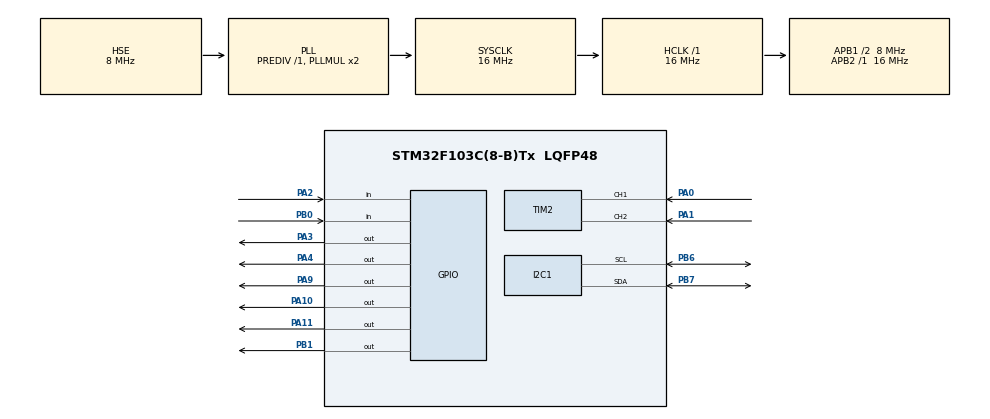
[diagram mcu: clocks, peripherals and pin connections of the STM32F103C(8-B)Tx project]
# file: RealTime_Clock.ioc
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I2C1.I2C_Mode=I2C_Fast
Mcu.Family=STM32F1
Mcu.Name=STM32F103C(8-B)Tx
Mcu.Package=LQFP48
NVIC.PriorityGroup=NVIC_PRIORITYGROUP_4
PA0-WKUP.Signal=S_TIM2_CH1_ETR
PA1.Signal=S_TIM2_CH2
PA10.Signal=GPIO_Output
PA11.Signal=GPIO_Output
PA13.Mode=Serial_Wire
PA13.Signal=SYS_JTMS-SWDIO
PA14.Mode=Serial_Wire
PA14.Signal=SYS_JTCK-SWCLK
PA2.GPIO_PuPd=GPIO_PULLUP
PA2.Signal=GPIO_Input
PA3.Signal=GPIO_Output
PA4.Signal=GPIO_Output
PA9.Signal=GPIO_Output
PB0.GPIO_PuPd=GPIO_PULLDOWN
PB0.Signal=GPIO_Input
PB1.Signal=GPIO_Output
PB6.Mode=I2C
PB6.Signal=I2C1_SCL
PB7.Mode=I2C
PB7.Signal=I2C1_SDA
PD0-OSC_IN.Mode=HSE-External-Oscillator
PD0-OSC_IN.Signal=RCC_OSC_IN
PD1-OSC_OUT.Mode=HSE-External-Oscillator
PD1-OSC_OUT.Signal=RCC_OSC_OUT
ProjectManager.HeapSize=0x200
ProjectManager.StackSize=0x400
ProjectManager.TargetToolchain=STM32CubeIDE
RCC.AHBFreq_Value=16000000
RCC.APB1CLKDivider=RCC_HCLK_DIV2
RCC.APB1Freq_Value=8000000
RCC.APB1TimFreq_Value=16000000
RCC.APB2Freq_Value=16000000
RCC.APB2TimFreq_Value=16000000
RCC.HCLKFreq_Value=16000000
RCC.PLLSourceVirtual=RCC_PLLSOURCE_HSE
RCC.SYSCLKFreq_VALUE=16000000
RCC.SYSCLKSource=RCC_SYSCLKSOURCE_PLLCLK
RCC.USBFreq_Value=16000000
SH.S_TIM2_CH1_ETR.0=TIM2_CH1,Encoder_Interface
SH.S_TIM2_CH2.0=TIM2_CH2,Encoder_Interface
board=custom

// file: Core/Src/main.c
/* USER CODE BEGIN Header */
/**
  ******************************************************************************
  * @file           : main.c
  * @brief          : Main program body
  ******************************************************************************
  * @attention
  *
  * Copyright (c) 2024 STMicroelectronics.
  * All rights reserved.
  *
  * This software is licensed under terms that can be found in the LICENSE file
  * in the root directory of this software component.
  * If no LICENSE file comes with this software, it is provided AS-IS.
  *
  ******************************************************************************
  */
/* USER CODE END Header */

#include "main.h"

/* USER CODE BEGIN Includes */
#include "EOS.h"
#include "LED74HC595.h"
#include "realtime_clock.h"
#include "stdio.h"
#include "ds3231.h"
/* USER CODE END Includes */

I2C_HandleTypeDef hi2c1;

TIM_HandleTypeDef htim2;

/* USER CODE BEGIN PV */
float TEMP;

LED74HC595 ledStruct;
/* USER CODE END PV */

void SystemClock_Config(void);
static void MX_GPIO_Init(void);
static void MX_I2C1_Init(void);
static void MX_TIM2_Init(void);

int main(void)
{

  /* MCU Configuration--------------------------------------------------------*/

  /* Reset of all peripherals, Initializes the Flash interface and the Systick. */
  //HAL_Init();

  /* Configure the system clock */
  //SystemClock_Config();

  /* Initialize all configured peripherals */
  MX_GPIO_Init();
  MX_I2C1_Init();
  MX_TIM2_Init();
  /* USER CODE BEGIN 2 */
  EOS_init(1000);
  //HAL_TIM_Encoder_Start(&htim2, TIM_CHANNEL_ALL);
  //Set_Time(00, 5, 18, 7, 21, 4, 24);
  /* USER CODE END 2 */

  /* Infinite loop */
  /* USER CODE BEGIN WHILE */
  while (1)
  {
	  if((GPIOB->IDR & GPIO_PIN_0)){
		 mode(TEMP);
	  } else {
		  HAL_PWR_EnterSLEEPMode(PWR_MAINREGULATOR_ON, PWR_SLEEPENTRY_WFI);
		  GPIOA->BSRR = GPIO_PIN_3 << 16;
		  GPIOA->BSRR = GPIO_PIN_4 << 16;
		  setChar(1, __OFF);
		  setChar(2, __OFF);
		  setChar(3, __OFF);
		  setChar(4, __OFF);

	  }

    /* USER CODE END WHILE */

  }
}

void SystemClock_Config(void)
{
  RCC_OscInitTypeDef RCC_OscInitStruct = {0};
  RCC_ClkInitTypeDef RCC_ClkInitStruct = {0};

  /** Initializes the RCC Oscillators according to the specified parameters
  * in the RCC_OscInitTypeDef structure.
  */
  RCC_OscInitStruct.OscillatorType = RCC_OSCILLATORTYPE_HSE;
  RCC_OscInitStruct.HSEState = RCC_HSE_ON;
  RCC_OscInitStruct.HSEPredivValue = RCC_HSE_PREDIV_DIV1;
  RCC_OscInitStruct.HSIState = RCC_HSI_ON;
  RCC_OscInitStruct.PLL.PLLState = RCC_PLL_ON;
  RCC_OscInitStruct.PLL.PLLSource = RCC_PLLSOURCE_HSE;
  RCC_OscInitStruct.PLL.PLLMUL = RCC_PLL_MUL2;
  if (HAL_RCC_OscConfig(&RCC_OscInitStruct) != HAL_OK)
  {
    Error_Handler();
  }

  /** Initializes the CPU, AHB and APB buses clocks
  */
  RCC_ClkInitStruct.ClockType = RCC_CLOCKTYPE_HCLK|RCC_CLOCKTYPE_SYSCLK
                              |RCC_CLOCKTYPE_PCLK1|RCC_CLOCKTYPE_PCLK2;
  RCC_ClkInitStruct.SYSCLKSource = RCC_SYSCLKSOURCE_PLLCLK;
  RCC_ClkInitStruct.AHBCLKDivider = RCC_SYSCLK_DIV1;
  RCC_ClkInitStruct.APB1CLKDivider = RCC_HCLK_DIV2;
  RCC_ClkInitStruct.APB2CLKDivider = RCC_HCLK_DIV1;

  if (HAL_RCC_ClockConfig(&RCC_ClkInitStruct, FLASH_LATENCY_0) != HAL_OK)
  {
    Error_Handler();
  }
}

static void MX_I2C1_Init(void)
{

  hi2c1.Instance = I2C1;
  hi2c1.Init.ClockSpeed = 400000;
  hi2c1.Init.DutyCycle = I2C_DUTYCYCLE_2;
  hi2c1.Init.OwnAddress1 = 0;
  hi2c1.Init.AddressingMode = I2C_ADDRESSINGMODE_7BIT;
  hi2c1.Init.DualAddressMode = I2C_DUALADDRESS_DISABLE;
  hi2c1.Init.OwnAddress2 = 0;
  hi2c1.Init.GeneralCallMode = I2C_GENERALCALL_DISABLE;
  hi2c1.Init.NoStretchMode = I2C_NOSTRETCH_DISABLE;
  if (HAL_I2C_Init(&hi2c1) != HAL_OK)
  {
    Error_Handler();
  }

}

static void MX_TIM2_Init(void)
{

  TIM_Encoder_InitTypeDef sConfig = {0};
  TIM_MasterConfigTypeDef sMasterConfig = {0};

  htim2.Instance = TIM2;
  htim2.Init.Prescaler = 0;
  htim2.Init.CounterMode = TIM_COUNTERMODE_UP;
  htim2.Init.Period = 65535;
  htim2.Init.ClockDivision = TIM_CLOCKDIVISION_DIV1;
  htim2.Init.AutoReloadPreload = TIM_AUTORELOAD_PRELOAD_DISABLE;
  sConfig.EncoderMode = TIM_ENCODERMODE_TI1;
  sConfig.IC1Polarity = TIM_ICPOLARITY_RISING;
  sConfig.IC1Selection = TIM_ICSELECTION_DIRECTTI;
  sConfig.IC1Prescaler = TIM_ICPSC_DIV1;
  sConfig.IC1Filter = 0;
  sConfig.IC2Polarity = TIM_ICPOLARITY_RISING;
  sConfig.IC2Selection = TIM_ICSELECTION_DIRECTTI;
  sConfig.IC2Prescaler = TIM_ICPSC_DIV1;
  sConfig.IC2Filter = 0;
  if (HAL_TIM_Encoder_Init(&htim2, &sConfig) != HAL_OK)
  {
    Error_Handler();
  }
  sMasterConfig.MasterOutputTrigger = TIM_TRGO_RESET;
  sMasterConfig.MasterSlaveMode = TIM_MASTERSLAVEMODE_DISABLE;
  if (HAL_TIMEx_MasterConfigSynchronization(&htim2, &sMasterConfig) != HAL_OK)
  {
    Error_Handler();
  }

}

static void MX_GPIO_Init(void)
{
  GPIO_InitTypeDef GPIO_InitStruct = {0};

  /* GPIO Ports Clock Enable */
  __HAL_RCC_GPIOD_CLK_ENABLE();
  __HAL_RCC_GPIOA_CLK_ENABLE();
  __HAL_RCC_GPIOB_CLK_ENABLE();

  /*Configure GPIO pin Output Level */
  HAL_GPIO_WritePin(GPIOA, GPIO_PIN_3|GPIO_PIN_4|GPIO_PIN_9|GPIO_PIN_10
                          |GPIO_PIN_11, GPIO_PIN_RESET);

  /*Configure GPIO pin Output Level */
  HAL_GPIO_WritePin(GPIOB, GPIO_PIN_1, GPIO_PIN_RESET);

  /*Configure GPIO pin : PA2 */
  GPIO_InitStruct.Pin = GPIO_PIN_2;
  GPIO_InitStruct.Mode = GPIO_MODE_INPUT;
  GPIO_InitStruct.Pull = GPIO_PULLUP;
  HAL_GPIO_Init(GPIOA, &GPIO_InitStruct);

  /*Configure GPIO pins : PA3 PA4 PA9 PA10
                           PA11 */
  GPIO_InitStruct.Pin = GPIO_PIN_3|GPIO_PIN_4|GPIO_PIN_9|GPIO_PIN_10
                          |GPIO_PIN_11;
  GPIO_InitStruct.Mode = GPIO_MODE_OUTPUT_PP;
  GPIO_InitStruct.Pull = GPIO_NOPULL;
  GPIO_InitStruct.Speed = GPIO_SPEED_FREQ_LOW;
  HAL_GPIO_Init(GPIOA, &GPIO_InitStruct);

  /*Configure GPIO pin : PB0 */
  GPIO_InitStruct.Pin = GPIO_PIN_0;
  GPIO_InitStruct.Mode = GPIO_MODE_INPUT;
  GPIO_InitStruct.Pull = GPIO_PULLDOWN;
  HAL_GPIO_Init(GPIOB, &GPIO_InitStruct);

  /*Configure GPIO pin : PB1 */
  GPIO_InitStruct.Pin = GPIO_PIN_1;
  GPIO_InitStruct.Mode = GPIO_MODE_OUTPUT_PP;
  GPIO_InitStruct.Pull = GPIO_NOPULL;
  GPIO_InitStruct.Speed = GPIO_SPEED_FREQ_LOW;
  HAL_GPIO_Init(GPIOB, &GPIO_InitStruct);

}

/* USER CODE BEGIN 4 */
void SysTick_Handler(void)
{
  /* USER CODE BEGIN SysTick_IRQn 0 */

	Get_Time();
	force_temp_conv();
	TEMP = Get_Temp();
  /* USER CODE END SysTick_IRQn 0 */
  HAL_IncTick();
  /* USER CODE BEGIN SysTick_IRQn 1 */

  /* USER CODE END SysTick_IRQn 1 */
}
/* USER CODE END 4 */

void Error_Handler(void)
{
  __disable_irq();
  while (1)
  {
  }
}
